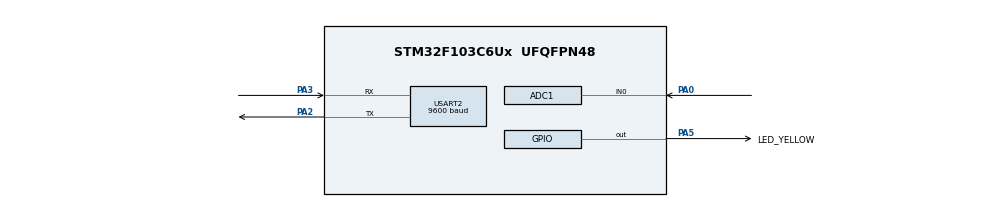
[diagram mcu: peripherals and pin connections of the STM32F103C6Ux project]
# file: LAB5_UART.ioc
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ADC1.Channel-0\#ChannelRegularConversion=ADC_CHANNEL_0
ADC1.ContinuousConvMode=ENABLE
ADC1.NbrOfConversionFlag=1
ADC1.Rank-0\#ChannelRegularConversion=1
ADC1.SamplingTime-0\#ChannelRegularConversion=ADC_SAMPLETIME_1CYCLE_5
ADC1.master=1
Mcu.Family=STM32F1
Mcu.Name=STM32F103C6Ux
Mcu.Package=UFQFPN48
NVIC.PriorityGroup=NVIC_PRIORITYGROUP_4
NVIC.TIM2_IRQn=true\:0\:0\:false\:false\:true\:true\:true
NVIC.USART2_IRQn=true\:0\:0\:false\:false\:true\:true\:true
PA0-WKUP.Signal=ADCx_IN0
PA2.Mode=Asynchronous
PA2.Signal=USART2_TX
PA3.Mode=Asynchronous
PA3.Signal=USART2_RX
PA5.GPIO_Label=LED_YELLOW
PA5.Signal=GPIO_Output
ProjectManager.HeapSize=0x200
ProjectManager.StackSize=0x400
ProjectManager.TargetToolchain=STM32CubeIDE
RCC.APB1Freq_Value=8000000
RCC.APB2Freq_Value=8000000
SH.ADCx_IN0.0=ADC1_IN0,IN0
TIM2.Period=9
TIM2.Prescaler=7999
USART2.BaudRate=9600
USART2.VirtualMode=VM_ASYNC
VP_SYS_VS_ND.Mode=No_Debug
VP_TIM2_VS_ClockSourceINT.Mode=Internal
board=custom

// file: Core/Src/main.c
/* USER CODE BEGIN Header */
/**
  ******************************************************************************
  * @file           : main.c
  * @brief          : Main program body
  ******************************************************************************
  * @attention
  *
  * <h2><center>&copy; Copyright (c) 2023 STMicroelectronics.
  * All rights reserved.</center></h2>
  *
  * This software component is licensed by ST under BSD 3-Clause license,
  * the "License"; You may not use this file except in compliance with the
  * License. You may obtain a copy of the License at:
  *                        opensource.org/licenses/BSD-3-Clause
  *
  ******************************************************************************
  */
/* USER CODE END Header */
#include "main.h"

/* USER CODE BEGIN Includes */

#include "uart_cmd_parser.h"
#include "uart_com.h"
#include "sofware_timer.h"
/* USER CODE END Includes */

ADC_HandleTypeDef hadc1;

TIM_HandleTypeDef htim2;

UART_HandleTypeDef huart2;

void SystemClock_Config(void);
static void MX_GPIO_Init(void);
static void MX_ADC1_Init(void);
static void MX_USART2_UART_Init(void);
static void MX_TIM2_Init(void);

/* USER CODE BEGIN 0 */
uint32_t raw;
char msg[10];

void transmit_data()
{
	raw = HAL_ADC_GetValue(&hadc1);
	// convert uint32_t to string
	// add end line character for printing out the terminal
	sprintf(msg, "!ADC=%lu#\r\n", raw);

	// transmit the data to the terminal
	HAL_UART_Transmit(&huart2, (uint8_t*)msg, strlen(msg), HAL_MAX_DELAY);

	// set timer for timeout
	setTimer1(TIMEOUT);
}

void reTransmit_data()
{
	// retransmit the data to the terminal
	HAL_UART_Transmit(&huart2, (uint8_t*)msg, strlen(msg), HAL_MAX_DELAY);
	setTimer1(TIMEOUT);
}

char buffer[MAX_BUFFER_SIZE];
uint8_t temp = 0;
uint8_t index_buffer = 0;
uint8_t buffer_flag = 0;

void HAL_UART_RxCpltCallback ( UART_HandleTypeDef * huart )
{
	if(huart->Instance == USART2)
	{
		index_buffer++;
		if(index_buffer == 30) index_buffer = 0;
		buffer [index_buffer] = temp ;

		buffer_flag = 1;
		HAL_UART_Receive_IT(&huart2, &temp, 1);
	}
}
/* USER CODE END 0 */

int main(void)
{
  /* USER CODE BEGIN 1 */
  status1 = IDLE_STATE;
  status2 = WAIT_FOR_CMD_STATE;
  /* USER CODE END 1 */

  /* MCU Configuration--------------------------------------------------------*/

  /* Reset of all peripherals, Initializes the Flash interface and the Systick. */
  HAL_Init();

  /* Configure the system clock */
  SystemClock_Config();

  /* Initialize all configured peripherals */
  MX_GPIO_Init();
  MX_ADC1_Init();
  MX_USART2_UART_Init();
  MX_TIM2_Init();
  /* USER CODE BEGIN 2 */
  HAL_UART_Receive_IT(&huart2, &temp, 1);
  HAL_ADC_Start(&hadc1);
  /* USER CODE END 2 */
  HAL_TIM_Base_Start_IT (& htim2 ) ;
  /* Infinite loop */
  while (1)
  {
	 if(buffer_flag == 1)
	 {
		 command_parser_fsm();
		 buffer_flag = 0;
	 }
	 uart_communication_fsm();
  }
}

void SystemClock_Config(void)
{
  RCC_OscInitTypeDef RCC_OscInitStruct = {0};
  RCC_ClkInitTypeDef RCC_ClkInitStruct = {0};
  RCC_PeriphCLKInitTypeDef PeriphClkInit = {0};

  /** Initializes the RCC Oscillators according to the specified parameters
  * in the RCC_OscInitTypeDef structure.
  */
  RCC_OscInitStruct.OscillatorType = RCC_OSCILLATORTYPE_HSI;
  RCC_OscInitStruct.HSIState = RCC_HSI_ON;
  RCC_OscInitStruct.HSICalibrationValue = RCC_HSICALIBRATION_DEFAULT;
  RCC_OscInitStruct.PLL.PLLState = RCC_PLL_NONE;
  if (HAL_RCC_OscConfig(&RCC_OscInitStruct) != HAL_OK)
  {
    Error_Handler();
  }
  /** Initializes the CPU, AHB and APB buses clocks
  */
  RCC_ClkInitStruct.ClockType = RCC_CLOCKTYPE_HCLK|RCC_CLOCKTYPE_SYSCLK
                              |RCC_CLOCKTYPE_PCLK1|RCC_CLOCKTYPE_PCLK2;
  RCC_ClkInitStruct.SYSCLKSource = RCC_SYSCLKSOURCE_HSI;
  RCC_ClkInitStruct.AHBCLKDivider = RCC_SYSCLK_DIV1;
  RCC_ClkInitStruct.APB1CLKDivider = RCC_HCLK_DIV1;
  RCC_ClkInitStruct.APB2CLKDivider = RCC_HCLK_DIV1;

  if (HAL_RCC_ClockConfig(&RCC_ClkInitStruct, FLASH_LATENCY_0) != HAL_OK)
  {
    Error_Handler();
  }
  PeriphClkInit.PeriphClockSelection = RCC_PERIPHCLK_ADC;
  PeriphClkInit.AdcClockSelection = RCC_ADCPCLK2_DIV2;
  if (HAL_RCCEx_PeriphCLKConfig(&PeriphClkInit) != HAL_OK)
  {
    Error_Handler();
  }
}

static void MX_ADC1_Init(void)
{

  ADC_ChannelConfTypeDef sConfig = {0};

  /** Common config
  */
  hadc1.Instance = ADC1;
  hadc1.Init.ScanConvMode = ADC_SCAN_DISABLE;
  hadc1.Init.ContinuousConvMode = ENABLE;
  hadc1.Init.DiscontinuousConvMode = DISABLE;
  hadc1.Init.ExternalTrigConv = ADC_SOFTWARE_START;
  hadc1.Init.DataAlign = ADC_DATAALIGN_RIGHT;
  hadc1.Init.NbrOfConversion = 1;
  if (HAL_ADC_Init(&hadc1) != HAL_OK)
  {
    Error_Handler();
  }
  /** Configure Regular Channel
  */
  sConfig.Channel = ADC_CHANNEL_0;
  sConfig.Rank = ADC_REGULAR_RANK_1;
  sConfig.SamplingTime = ADC_SAMPLETIME_1CYCLE_5;
  if (HAL_ADC_ConfigChannel(&hadc1, &sConfig) != HAL_OK)
  {
    Error_Handler();
  }

}

static void MX_TIM2_Init(void)
{

  TIM_ClockConfigTypeDef sClockSourceConfig = {0};
  TIM_MasterConfigTypeDef sMasterConfig = {0};

  htim2.Instance = TIM2;
  htim2.Init.Prescaler = 7999;
  htim2.Init.CounterMode = TIM_COUNTERMODE_UP;
  htim2.Init.Period = 9;
  htim2.Init.ClockDivision = TIM_CLOCKDIVISION_DIV1;
  htim2.Init.AutoReloadPreload = TIM_AUTORELOAD_PRELOAD_DISABLE;
  if (HAL_TIM_Base_Init(&htim2) != HAL_OK)
  {
    Error_Handler();
  }
  sClockSourceConfig.ClockSource = TIM_CLOCKSOURCE_INTERNAL;
  if (HAL_TIM_ConfigClockSource(&htim2, &sClockSourceConfig) != HAL_OK)
  {
    Error_Handler();
  }
  sMasterConfig.MasterOutputTrigger = TIM_TRGO_RESET;
  sMasterConfig.MasterSlaveMode = TIM_MASTERSLAVEMODE_DISABLE;
  if (HAL_TIMEx_MasterConfigSynchronization(&htim2, &sMasterConfig) != HAL_OK)
  {
    Error_Handler();
  }

}

static void MX_USART2_UART_Init(void)
{

  huart2.Instance = USART2;
  huart2.Init.BaudRate = 9600;
  huart2.Init.WordLength = UART_WORDLENGTH_8B;
  huart2.Init.StopBits = UART_STOPBITS_1;
  huart2.Init.Parity = UART_PARITY_NONE;
  huart2.Init.Mode = UART_MODE_TX_RX;
  huart2.Init.HwFlowCtl = UART_HWCONTROL_NONE;
  huart2.Init.OverSampling = UART_OVERSAMPLING_16;
  if (HAL_UART_Init(&huart2) != HAL_OK)
  {
    Error_Handler();
  }

}

static void MX_GPIO_Init(void)
{
  GPIO_InitTypeDef GPIO_InitStruct = {0};

  /* GPIO Ports Clock Enable */
  __HAL_RCC_GPIOA_CLK_ENABLE();

  /*Configure GPIO pin Output Level */
  HAL_GPIO_WritePin(LED_YELLOW_GPIO_Port, LED_YELLOW_Pin, GPIO_PIN_RESET);

  /*Configure GPIO pin : LED_YELLOW_Pin */
  GPIO_InitStruct.Pin = LED_YELLOW_Pin;
  GPIO_InitStruct.Mode = GPIO_MODE_OUTPUT_PP;
  GPIO_InitStruct.Pull = GPIO_NOPULL;
  GPIO_InitStruct.Speed = GPIO_SPEED_FREQ_LOW;
  HAL_GPIO_Init(LED_YELLOW_GPIO_Port, &GPIO_InitStruct);

}

/* USER CODE BEGIN 4 */
void HAL_TIM_PeriodElapsedCallback ( TIM_HandleTypeDef * htim )
{
	timerRun();
}
/* USER CODE END 4 */

void Error_Handler(void)
{
  __disable_irq();
  while (1)
  {
  }
}

/************************ (C) COPYRIGHT STMicroelectronics *****END OF FILE****/
